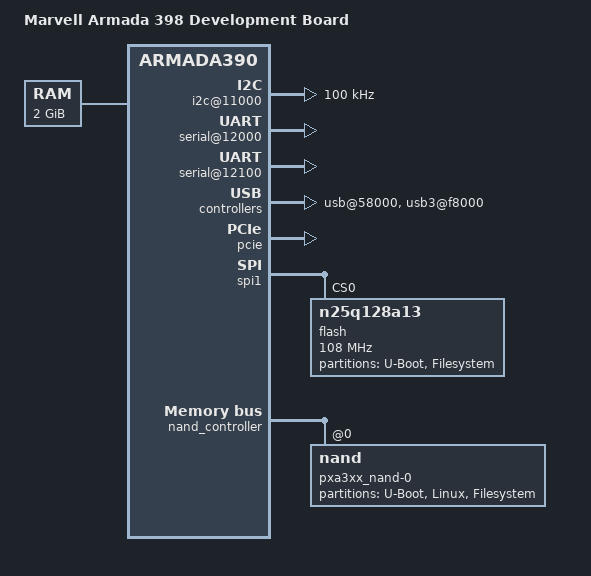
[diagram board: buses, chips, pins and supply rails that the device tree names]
// SPDX-License-Identifier: (GPL-2.0+ OR MIT)
/*
 * Device Tree Include file for Marvell Armada 398 Development Board
 *
 * Copyright (C) 2015 Marvell
 *
 * Thomas Petazzoni <thomas.petazzoni@free-electrons.com>
 */

/dts-v1/;
#include "armada-398.dtsi"

/ {
	model = "Marvell Armada 398 Development Board";
	compatible = "marvell,a398-db", "marvell,armada398", "marvell,armada390";

	chosen {
		stdout-path = "serial0:115200n8";
	};

	memory {
		device_type = "memory";
		reg = <0x00000000 0x80000000>; /* 2 GB */
	};

	soc {
		ranges = <MBUS_ID(0xf0, 0x01) 0 0xf1000000 0x100000
			  MBUS_ID(0x01, 0x1d) 0 0xfff00000 0x100000>;

		internal-regs {
			i2c@11000 {
				pinctrl-0 = <&i2c0_pins>;
				pinctrl-names = "default";
				status = "okay";
				clock-frequency = <100000>;
			};

			serial@12000 {
				pinctrl-0 = <&uart0_pins>;
				pinctrl-names = "default";
				status = "okay";
			};

			serial@12100 {
				pinctrl-0 = <&uart1_pins>;
				pinctrl-names = "default";
				status = "okay";
			};

			usb@58000 {
				status = "okay";
			};

			usb3@f8000 {
				status = "okay";
			};
		};

		pcie {
			status = "okay";

			pcie@1,0 {
				status = "okay";
			};

			pcie@2,0 {
				status = "okay";
			};

			pcie@3,0 {
				status = "okay";
			};
		};
	};
};

&spi1 {
	status = "okay";
	pinctrl-0 = <&spi1_pins>;
	pinctrl-names = "default";

	flash@0 {
		#address-cells = <1>;
		#size-cells = <0>;
		compatible = "n25q128a13", "jedec,spi-nor";
		reg = <0>;
		spi-max-frequency = <108000000>;

		partition@0 {
			label = "U-Boot";
			reg = <0 0x400000>;
		};

		partition@400000 {
			label = "Filesystem";
			reg = <0x400000 0x1000000>;
		};
	};
};

&nand_controller {
	status = "okay";
	pinctrl-0 = <&nand_pins>;
	pinctrl-names = "default";

	nand@0 {
		reg = <0>;
		label = "pxa3xx_nand-0";
		nand-rb = <0>;
		marvell,nand-keep-config;
		nand-on-flash-bbt;
		nand-ecc-strength = <8>;
		nand-ecc-step-size = <512>;

		partitions {
			compatible = "fixed-partitions";
			#address-cells = <1>;
			#size-cells = <1>;

			partition@0 {
				label = "U-Boot";
				reg = <0 0x800000>;
			};
			partition@800000 {
				label = "Linux";
				reg = <0x800000 0x800000>;
			};
			partition@1000000 {
				label = "Filesystem";
				reg = <0x1000000 0x3f000000>;
			};
		};
	};
};
